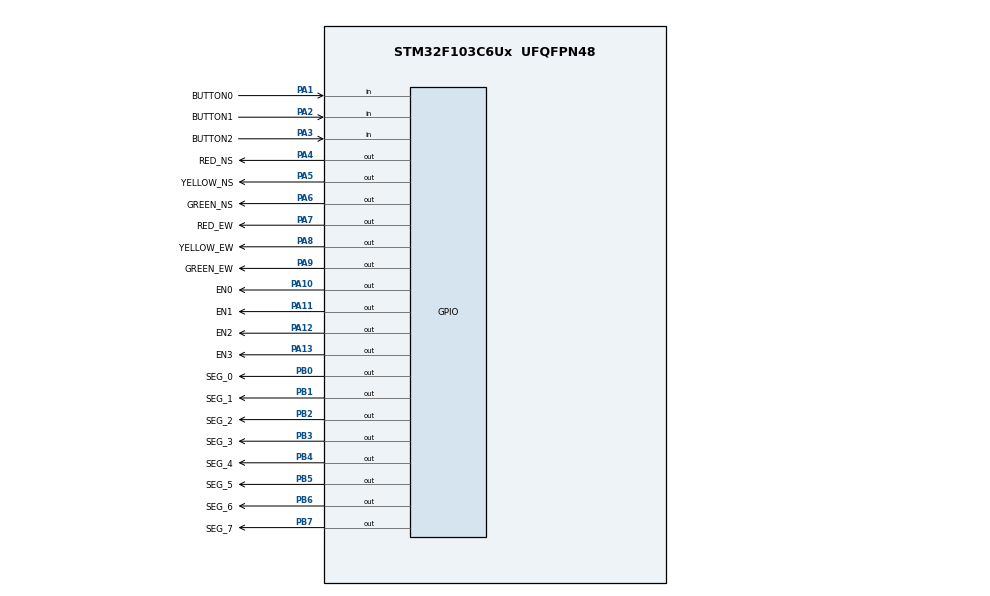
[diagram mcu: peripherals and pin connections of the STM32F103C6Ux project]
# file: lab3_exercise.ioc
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Mcu.Family=STM32F1
Mcu.Name=STM32F103C6Ux
Mcu.Package=UFQFPN48
NVIC.PriorityGroup=NVIC_PRIORITYGROUP_4
NVIC.TIM2_IRQn=true\:0\:0\:false\:false\:true\:true\:true
PA1.GPIO_Label=BUTTON0
PA1.Signal=GPIO_Input
PA10.GPIO_Label=EN0
PA10.Signal=GPIO_Output
PA11.GPIO_Label=EN1
PA11.Signal=GPIO_Output
PA12.GPIO_Label=EN2
PA12.Signal=GPIO_Output
PA13.GPIO_Label=EN3
PA13.Signal=GPIO_Output
PA2.GPIO_Label=BUTTON1
PA2.Signal=GPIO_Input
PA3.GPIO_Label=BUTTON2
PA3.Signal=GPIO_Input
PA4.GPIO_Label=RED_NS
PA4.Signal=GPIO_Output
PA5.GPIO_Label=YELLOW_NS
PA5.Signal=GPIO_Output
PA6.GPIO_Label=GREEN_NS
PA6.Signal=GPIO_Output
PA7.GPIO_Label=RED_EW
PA7.Signal=GPIO_Output
PA8.GPIO_Label=YELLOW_EW
PA8.Signal=GPIO_Output
PA9.GPIO_Label=GREEN_EW
PA9.Signal=GPIO_Output
PB0.GPIO_Label=SEG_0
PB0.Signal=GPIO_Output
PB1.GPIO_Label=SEG_1
PB1.Signal=GPIO_Output
PB2.GPIO_Label=SEG_2
PB2.Signal=GPIO_Output
PB3.GPIO_Label=SEG_3
PB3.Signal=GPIO_Output
PB4.GPIO_Label=SEG_4
PB4.Signal=GPIO_Output
PB5.GPIO_Label=SEG_5
PB5.Signal=GPIO_Output
PB6.GPIO_Label=SEG_6
PB6.Signal=GPIO_Output
PB7.GPIO_Label=SEG_7
PB7.Signal=GPIO_Output
ProjectManager.HeapSize=0x200
ProjectManager.StackSize=0x400
ProjectManager.TargetToolchain=STM32CubeIDE
RCC.APB1Freq_Value=8000000
RCC.APB2Freq_Value=8000000
TIM2.Period=9
TIM2.Prescaler=7999
VP_SYS_VS_ND.Mode=No_Debug
VP_TIM2_VS_ClockSourceINT.Mode=Internal
board=custom

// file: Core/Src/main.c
/* USER CODE BEGIN Header */
/**
  ******************************************************************************
  * @file           : main.c
  * @brief          : Main program body
  ******************************************************************************
  * @attention
  *
  * <h2><center>&copy; Copyright (c) 2024 STMicroelectronics.
  * All rights reserved.</center></h2>
  *
  * This software component is licensed by ST under BSD 3-Clause license,
  * the "License"; You may not use this file except in compliance with the
  * License. You may obtain a copy of the License at:
  *                        opensource.org/licenses/BSD-3-Clause
  *
  ******************************************************************************
  */
/* USER CODE END Header */
#include "main.h"

/* USER CODE BEGIN Includes */
#include "fsm_automatic.h"
#include "fsm_manual.h"
#include "fsm_setting.h"
#include "software_timer.h"
#include "global.h"
#include "led7_segment.h"
#include "button.h"
/* USER CODE END Includes */

TIM_HandleTypeDef htim2;

/* USER CODE BEGIN PV */
TIM_HandleTypeDef htim2;
/* USER CODE END PV */

void SystemClock_Config(void);
static void MX_GPIO_Init(void);
static void MX_TIM2_Init(void);

int main(void)
{

  /* MCU Configuration--------------------------------------------------------*/

  /* Reset of all peripherals, Initializes the Flash interface and the Systick. */
  HAL_Init();

  /* Configure the system clock */
  SystemClock_Config();

  /* Initialize all configured peripherals */
  MX_GPIO_Init();
  MX_TIM2_Init();
  /* USER CODE BEGIN 2 */

  HAL_TIM_Base_Start_IT (& htim2 );
  status = INIT;
  setTimer3(30);
  setTimer4(100);
  /* USER CODE END 2 */

  /* Infinite loop */
  /* USER CODE BEGIN WHILE */
  while (1)
  {
	  fsm_automatic_run();
	  fsm_manual_run();
	  fsm_setting_run();
    /* USER CODE END WHILE */

  }
}

void SystemClock_Config(void)
{
  RCC_OscInitTypeDef RCC_OscInitStruct = {0};
  RCC_ClkInitTypeDef RCC_ClkInitStruct = {0};

  /** Initializes the RCC Oscillators according to the specified parameters
  * in the RCC_OscInitTypeDef structure.
  */
  RCC_OscInitStruct.OscillatorType = RCC_OSCILLATORTYPE_HSI;
  RCC_OscInitStruct.HSIState = RCC_HSI_ON;
  RCC_OscInitStruct.HSICalibrationValue = RCC_HSICALIBRATION_DEFAULT;
  RCC_OscInitStruct.PLL.PLLState = RCC_PLL_NONE;
  if (HAL_RCC_OscConfig(&RCC_OscInitStruct) != HAL_OK)
  {
    Error_Handler();
  }
  /** Initializes the CPU, AHB and APB buses clocks
  */
  RCC_ClkInitStruct.ClockType = RCC_CLOCKTYPE_HCLK|RCC_CLOCKTYPE_SYSCLK
                              |RCC_CLOCKTYPE_PCLK1|RCC_CLOCKTYPE_PCLK2;
  RCC_ClkInitStruct.SYSCLKSource = RCC_SYSCLKSOURCE_HSI;
  RCC_ClkInitStruct.AHBCLKDivider = RCC_SYSCLK_DIV1;
  RCC_ClkInitStruct.APB1CLKDivider = RCC_HCLK_DIV1;
  RCC_ClkInitStruct.APB2CLKDivider = RCC_HCLK_DIV1;

  if (HAL_RCC_ClockConfig(&RCC_ClkInitStruct, FLASH_LATENCY_0) != HAL_OK)
  {
    Error_Handler();
  }
}

static void MX_TIM2_Init(void)
{

  TIM_ClockConfigTypeDef sClockSourceConfig = {0};
  TIM_MasterConfigTypeDef sMasterConfig = {0};

  htim2.Instance = TIM2;
  htim2.Init.Prescaler = 7999;
  htim2.Init.CounterMode = TIM_COUNTERMODE_UP;
  htim2.Init.Period = 9;
  htim2.Init.ClockDivision = TIM_CLOCKDIVISION_DIV1;
  htim2.Init.AutoReloadPreload = TIM_AUTORELOAD_PRELOAD_DISABLE;
  if (HAL_TIM_Base_Init(&htim2) != HAL_OK)
  {
    Error_Handler();
  }
  sClockSourceConfig.ClockSource = TIM_CLOCKSOURCE_INTERNAL;
  if (HAL_TIM_ConfigClockSource(&htim2, &sClockSourceConfig) != HAL_OK)
  {
    Error_Handler();
  }
  sMasterConfig.MasterOutputTrigger = TIM_TRGO_RESET;
  sMasterConfig.MasterSlaveMode = TIM_MASTERSLAVEMODE_DISABLE;
  if (HAL_TIMEx_MasterConfigSynchronization(&htim2, &sMasterConfig) != HAL_OK)
  {
    Error_Handler();
  }

}

static void MX_GPIO_Init(void)
{
  GPIO_InitTypeDef GPIO_InitStruct = {0};

  /* GPIO Ports Clock Enable */
  __HAL_RCC_GPIOC_CLK_ENABLE();
  __HAL_RCC_GPIOA_CLK_ENABLE();
  __HAL_RCC_GPIOB_CLK_ENABLE();

  /*Configure GPIO pin Output Level */
  HAL_GPIO_WritePin(GPIOA, RED_NS_Pin|YELLOW_NS_Pin|GREEN_NS_Pin|RED_EW_Pin
                          |YELLOW_EW_Pin|GREEN_EW_Pin|EN0_Pin|EN1_Pin
                          |EN2_Pin|EN3_Pin, GPIO_PIN_RESET);

  /*Configure GPIO pin Output Level */
  HAL_GPIO_WritePin(GPIOB, SEG_0_Pin|SEG_1_Pin|SEG_2_Pin|SEG_3_Pin
                          |SEG_4_Pin|SEG_5_Pin|SEG_6_Pin, GPIO_PIN_RESET);

  /*Configure GPIO pins : BUTTON0_Pin BUTTON1_Pin BUTTON2_Pin */
  GPIO_InitStruct.Pin = BUTTON0_Pin|BUTTON1_Pin|BUTTON2_Pin;
  GPIO_InitStruct.Mode = GPIO_MODE_INPUT;
  GPIO_InitStruct.Pull = GPIO_PULLUP;
  HAL_GPIO_Init(GPIOC, &GPIO_InitStruct);

  /*Configure GPIO pins : RED_NS_Pin YELLOW_NS_Pin GREEN_NS_Pin RED_EW_Pin
                           YELLOW_EW_Pin GREEN_EW_Pin EN0_Pin EN1_Pin
                           EN2_Pin EN3_Pin */
  GPIO_InitStruct.Pin = RED_NS_Pin|YELLOW_NS_Pin|GREEN_NS_Pin|RED_EW_Pin
                          |YELLOW_EW_Pin|GREEN_EW_Pin|EN0_Pin|EN1_Pin
                          |EN2_Pin|EN3_Pin;
  GPIO_InitStruct.Mode = GPIO_MODE_OUTPUT_PP;
  GPIO_InitStruct.Pull = GPIO_NOPULL;
  GPIO_InitStruct.Speed = GPIO_SPEED_FREQ_LOW;
  HAL_GPIO_Init(GPIOA, &GPIO_InitStruct);

  /*Configure GPIO pins : SEG_0_Pin SEG_1_Pin SEG_2_Pin SEG_3_Pin
                           SEG_4_Pin SEG_5_Pin SEG_6_Pin */
  GPIO_InitStruct.Pin = SEG_0_Pin|SEG_1_Pin|SEG_2_Pin|SEG_3_Pin
                          |SEG_4_Pin|SEG_5_Pin|SEG_6_Pin;
  GPIO_InitStruct.Mode = GPIO_MODE_OUTPUT_PP;
  GPIO_InitStruct.Pull = GPIO_NOPULL;
  GPIO_InitStruct.Speed = GPIO_SPEED_FREQ_LOW;
  HAL_GPIO_Init(GPIOB, &GPIO_InitStruct);

}

/* USER CODE BEGIN 4 */
void HAL_TIM_PeriodElapsedCallback ( TIM_HandleTypeDef * htim )
{
	timerRun();
	getKeyInput();
}
/* USER CODE END 4 */

void Error_Handler(void)
{
  __disable_irq();
  while (1)
  {
  }
}

/************************ (C) COPYRIGHT STMicroelectronics *****END OF FILE****/
